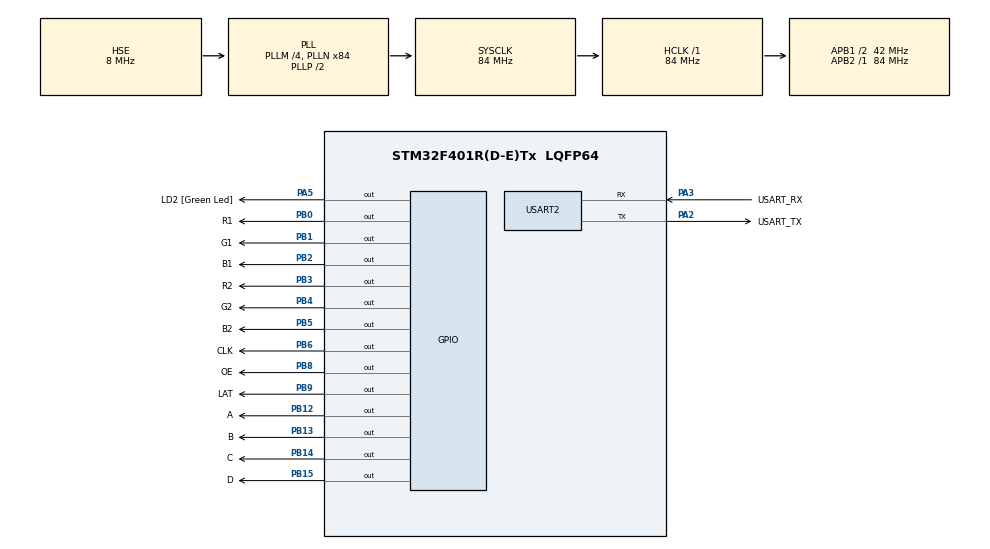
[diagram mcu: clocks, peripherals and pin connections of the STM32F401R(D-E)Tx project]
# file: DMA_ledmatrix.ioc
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Dma.Request0=TIM1_UP
Dma.TIM1_UP.0.Direction=DMA_MEMORY_TO_PERIPH
Dma.TIM1_UP.0.FIFOMode=DMA_FIFOMODE_ENABLE
Dma.TIM1_UP.0.FIFOThreshold=DMA_FIFO_THRESHOLD_FULL
Dma.TIM1_UP.0.Instance=DMA2_Stream5
Dma.TIM1_UP.0.MemBurst=DMA_MBURST_SINGLE
Dma.TIM1_UP.0.MemDataAlignment=DMA_MDATAALIGN_WORD
Dma.TIM1_UP.0.MemInc=DMA_MINC_ENABLE
Dma.TIM1_UP.0.Mode=DMA_CIRCULAR
Dma.TIM1_UP.0.PeriphBurst=DMA_PBURST_SINGLE
Dma.TIM1_UP.0.PeriphDataAlignment=DMA_PDATAALIGN_WORD
Dma.TIM1_UP.0.PeriphInc=DMA_PINC_DISABLE
Dma.TIM1_UP.0.Priority=DMA_PRIORITY_VERY_HIGH
Mcu.Family=STM32F4
Mcu.Name=STM32F401R(D-E)Tx
Mcu.Package=LQFP64
NVIC.DMA2_Stream5_IRQn=true\:0\:0\:false\:false\:true\:false\:true\:true
NVIC.PriorityGroup=NVIC_PRIORITYGROUP_4
NVIC.USART2_IRQn=true\:0\:0\:false\:false\:true\:true\:true\:true
PA13.GPIO_Label=TMS
PA13.Signal=SYS_JTMS-SWDIO
PA14.GPIO_Label=TCK
PA14.Signal=SYS_JTCK-SWCLK
PA2.GPIO_Label=USART_TX
PA2.GPIO_Mode=GPIO_MODE_AF_PP
PA2.GPIO_PuPd=GPIO_NOPULL
PA2.GPIO_Speed=GPIO_SPEED_FREQ_LOW
PA2.Mode=Asynchronous
PA2.Signal=USART2_TX
PA3.GPIO_Label=USART_RX
PA3.GPIO_Mode=GPIO_MODE_AF_PP
PA3.GPIO_PuPd=GPIO_NOPULL
PA3.GPIO_Speed=GPIO_SPEED_FREQ_LOW
PA3.Mode=Asynchronous
PA3.Signal=USART2_RX
PA5.GPIO_Label=LD2 [Green Led]
PA5.GPIO_Mode=GPIO_MODE_OUTPUT_PP
PA5.GPIO_PuPd=GPIO_NOPULL
PA5.GPIO_Speed=GPIO_SPEED_FREQ_LOW
PA5.Signal=GPIO_Output
PB0.GPIO_Label=R1
PB0.GPIO_Speed=GPIO_SPEED_FREQ_HIGH
PB0.Signal=GPIO_Output
PB1.GPIO_Label=G1
PB1.GPIO_Speed=GPIO_SPEED_FREQ_HIGH
PB1.Signal=GPIO_Output
PB12.GPIO_Label=A
PB12.GPIO_Speed=GPIO_SPEED_FREQ_HIGH
PB12.Signal=GPIO_Output
PB13.GPIO_Label=B
PB13.GPIO_Speed=GPIO_SPEED_FREQ_HIGH
PB13.Signal=GPIO_Output
PB14.GPIO_Label=C
PB14.GPIO_Speed=GPIO_SPEED_FREQ_HIGH
PB14.Signal=GPIO_Output
PB15.GPIO_Label=D
PB15.GPIO_Speed=GPIO_SPEED_FREQ_HIGH
PB15.Signal=GPIO_Output
PB2.GPIO_Label=B1
PB2.GPIO_Speed=GPIO_SPEED_FREQ_HIGH
PB2.Signal=GPIO_Output
PB3.GPIO_Label=R2
PB3.GPIO_Speed=GPIO_SPEED_FREQ_HIGH
PB3.Signal=GPIO_Output
PB4.GPIO_Label=G2
PB4.GPIO_Speed=GPIO_SPEED_FREQ_HIGH
PB4.Signal=GPIO_Output
PB5.GPIO_Label=B2
PB5.GPIO_Speed=GPIO_SPEED_FREQ_HIGH
PB5.Signal=GPIO_Output
PB6.GPIO_Label=CLK
PB6.GPIO_Speed=GPIO_SPEED_FREQ_HIGH
PB6.Signal=GPIO_Output
PB8.GPIO_Label=OE
PB8.GPIO_PuPd=GPIO_PULLUP
PB8.GPIO_Speed=GPIO_SPEED_FREQ_HIGH
PB8.PinState=GPIO_PIN_SET
PB8.Signal=GPIO_Output
PB9.GPIO_Label=LAT
PB9.GPIO_PuPd=GPIO_PULLUP
PB9.GPIO_Speed=GPIO_SPEED_FREQ_HIGH
PB9.Signal=GPIO_Output
PC14-OSC32_IN.Mode=LSE-External-Oscillator
PC14-OSC32_IN.Signal=RCC_OSC32_IN
PC15-OSC32_OUT.Mode=LSE-External-Oscillator
PC15-OSC32_OUT.Signal=RCC_OSC32_OUT
PH0\ -\ OSC_IN.Mode=HSE-External-Clock-Source
PH0\ -\ OSC_IN.Signal=RCC_OSC_IN
PH1\ -\ OSC_OUT.Mode=HSE-External-Clock-Source
PH1\ -\ OSC_OUT.Signal=RCC_OSC_OUT
ProjectManager.HeapSize=0x200
ProjectManager.StackSize=0x400
ProjectManager.TargetToolchain=STM32CubeIDE
RCC.48MHZClocksFreq_Value=24000000
RCC.AHBFreq_Value=84000000
RCC.APB1CLKDivider=RCC_HCLK_DIV2
RCC.APB1Freq_Value=42000000
RCC.APB1TimFreq_Value=84000000
RCC.APB2Freq_Value=84000000
RCC.APB2TimFreq_Value=84000000
RCC.CortexFreq_Value=84000000
RCC.HCLKFreq_Value=84000000
RCC.HSE_VALUE=8000000
RCC.HSI_VALUE=16000000
RCC.PLLM=4
RCC.PLLN=84
RCC.PLLQ=7
RCC.PLLSourceVirtual=RCC_PLLSOURCE_HSE
RCC.SYSCLKFreq_VALUE=84000000
RCC.SYSCLKSource=RCC_SYSCLKSOURCE_PLLCLK
RCC.VCOOutputFreq_Value=168000000
RTC.Format=RTC_FORMAT_BIN
RTC.HourFormat=RTC_HOURFORMAT_12
TIM1.Period=26
TIM1.Prescaler=0
TIM1.TIM_MasterOutputTrigger=TIM_TRGO_UPDATE
USART2.VirtualMode=VM_ASYNC
VP_RTC_VS_RTC_Activate.Mode=RTC_Enabled
VP_RTC_VS_RTC_Calendar.Mode=RTC_Calendar
VP_TIM1_VS_ClockSourceINT.Mode=Internal
board=NUCLEO-F401RE

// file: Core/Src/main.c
/* USER CODE BEGIN Header */
/**
  ******************************************************************************
  * @file           : main.c
  * @brief          : Main program body
  ******************************************************************************
  * @attention
  *
  * Copyright (c) 2025 STMicroelectronics.
  * All rights reserved.
  *
  * This software is licensed under terms that can be found in the LICENSE file
  * in the root directory of this software component.
  * If no LICENSE file comes with this software, it is provided AS-IS.
  *
  ******************************************************************************
  */
/* USER CODE END Header */
#include "main.h"

/* USER CODE BEGIN Includes */
#include "dma.h"
#include "color.h"
#include "test.h"
#include "debug_uart.h"
#include "paint.h"
#include "anim.h"
/* USER CODE END Includes */

RTC_HandleTypeDef hrtc;

TIM_HandleTypeDef htim1;
DMA_HandleTypeDef hdma_tim1_up;

UART_HandleTypeDef huart2;

/* USER CODE BEGIN PV */
// 전역 버퍼 크기: LED_WORDS_PER_FRAME 사용
uint32_t fb0[LED_WORDS_PER_FRAME];
uint32_t fb1[LED_WORDS_PER_FRAME];

/* USER CODE END PV */

void SystemClock_Config(void);
static void MX_GPIO_Init(void);
static void MX_DMA_Init(void);
static void MX_USART2_UART_Init(void);
static void MX_TIM1_Init(void);
static void MX_RTC_Init(void);

int main(void)
{

  /* MCU Configuration--------------------------------------------------------*/

  /* Reset of all peripherals, Initializes the Flash interface and the Systick. */
  HAL_Init();

  /* Configure the system clock */
  SystemClock_Config();

  /* Initialize all configured peripherals */
  MX_GPIO_Init();
  MX_DMA_Init();
  MX_USART2_UART_Init();
  MX_TIM1_Init();
  MX_RTC_Init();
  /* USER CODE BEGIN 2 */
  debug_uart_init(&huart2);
  debug_check_pins();

  float fupd = debug_tim1_update_hz(&htim1);
  float fps  = debug_tim1_fps(&htim1, LED_WORDS_PER_FRAME);
  debug_printf("[BOOT] WORDS/FRAME=%lu, TIM1 upd=%.3f MHz, FPS≈%.1f\r\n",
               (unsigned long)LED_WORDS_PER_FRAME, fupd/1e6f, fps);

  // 프레임 2장 모두 '컬러바'로 채움 → DMA가 이 내용을 계속 반복 표시
//  paint_color_bars(fb0);
//  paint_color_bars(fb1);

//  paint_checker(fb0, 8);   // 타일=8픽셀 (4,8,16 등 취향)
//  paint_checker(fb1, 8);

  // 1) 체크보드: 타일=8, 4프레임에 한 칸 이동
//   anim_init_checker(8, 4, fb0, fb1);

  // 2) 레인보우: 2프레임마다 hue 1 증가 (부드러운 스크롤)
  //anim_init_rainbow(1024 /* hue_step */, 2 /* frames_per_step */, fb0, fb1);
  //anim_init_rainbow(2048, 1, fb0, fb1);

  // RTC에서 시각 읽기
  uint8_t hh, mm, ss; bool is_am;
  rtc_get_hms_ampm(&hh, &mm, &ss, &is_am);

  // 필요 시 12시간제로 정규화 (RTC가 이미 12h면 생략 가능)
  uint8_t hh12 = (hh == 0) ? 12 : ((hh > 12) ? (hh - 12) : hh);
  // 색상 선택 (AM=하늘색, PM=주황색)
  uint8_t fr = is_am ? 135 : 255;
  uint8_t fg = is_am ? 206 : 165;
  uint8_t fb = is_am ? 235 :   0;

  paint_time_frame(fb0, hh12, mm, is_am, fr, fg, fb,   0, 0, 0);
  paint_time_frame(fb1, hh12, mm, is_am, fr, fg, fb,   0, 0, 0);

  led_dma_init(&hdma_tim1_up, GPIOB);
  if (led_dma_start(fb0, fb1, LED_WORDS_PER_FRAME) != HAL_OK) Error_Handler();

  __HAL_TIM_ENABLE_DMA(&htim1, TIM_DMA_UPDATE);
  HAL_TIM_Base_Start(&htim1);

  // 테스트 초기 프레임 생성 + 모드 설정

  /* USER CODE END 2 */

  /* Infinite loop */
  /* USER CODE BEGIN WHILE */
  while (1)
  {

	  static uint8_t last_mm = 255;
	  if (led_dma_take_vsync()) {
	      rtc_get_hms_ampm(&hh, &mm, &ss, &is_am);

	      if (mm != last_mm) {
	          last_mm = mm;
	          // 시/전경색 다시 계산
			  uint8_t hh12 = (hh == 0) ? 12 : ((hh > 12) ? (hh - 12) : hh);
			  uint8_t fr = is_am ? 135 : 255;
			  uint8_t fg = is_am ? 206 : 165;
			  uint8_t fb = is_am ? 235 :   0;

			  if (led_dma_is_mem_free(LED_MEM0)) {
			              paint_time_frame(fb0, hh12, mm, is_am, fr, fg, fb,  0,0,0);
			              led_dma_mark_filled(LED_MEM0);
			  }
			  if (led_dma_is_mem_free(LED_MEM1)) {
				  paint_time_frame(fb1, hh12, mm, is_am, fr, fg, fb,  0,0,0);
				  led_dma_mark_filled(LED_MEM1);
			  }
	      }
	  }

    /* USER CODE END WHILE */

  }
}

void SystemClock_Config(void)
{
  RCC_OscInitTypeDef RCC_OscInitStruct = {0};
  RCC_ClkInitTypeDef RCC_ClkInitStruct = {0};

  /** Configure the main internal regulator output voltage
  */
  __HAL_RCC_PWR_CLK_ENABLE();
  __HAL_PWR_VOLTAGESCALING_CONFIG(PWR_REGULATOR_VOLTAGE_SCALE2);

  /** Initializes the RCC Oscillators according to the specified parameters
  * in the RCC_OscInitTypeDef structure.
  */
  RCC_OscInitStruct.OscillatorType = RCC_OSCILLATORTYPE_LSI|RCC_OSCILLATORTYPE_HSE;
  RCC_OscInitStruct.HSEState = RCC_HSE_BYPASS;
  RCC_OscInitStruct.LSIState = RCC_LSI_ON;
  RCC_OscInitStruct.PLL.PLLState = RCC_PLL_ON;
  RCC_OscInitStruct.PLL.PLLSource = RCC_PLLSOURCE_HSE;
  RCC_OscInitStruct.PLL.PLLM = 4;
  RCC_OscInitStruct.PLL.PLLN = 84;
  RCC_OscInitStruct.PLL.PLLP = RCC_PLLP_DIV2;
  RCC_OscInitStruct.PLL.PLLQ = 7;
  if (HAL_RCC_OscConfig(&RCC_OscInitStruct) != HAL_OK)
  {
    Error_Handler();
  }

  /** Initializes the CPU, AHB and APB buses clocks
  */
  RCC_ClkInitStruct.ClockType = RCC_CLOCKTYPE_HCLK|RCC_CLOCKTYPE_SYSCLK
                              |RCC_CLOCKTYPE_PCLK1|RCC_CLOCKTYPE_PCLK2;
  RCC_ClkInitStruct.SYSCLKSource = RCC_SYSCLKSOURCE_PLLCLK;
  RCC_ClkInitStruct.AHBCLKDivider = RCC_SYSCLK_DIV1;
  RCC_ClkInitStruct.APB1CLKDivider = RCC_HCLK_DIV2;
  RCC_ClkInitStruct.APB2CLKDivider = RCC_HCLK_DIV1;

  if (HAL_RCC_ClockConfig(&RCC_ClkInitStruct, FLASH_LATENCY_2) != HAL_OK)
  {
    Error_Handler();
  }
}

static void MX_RTC_Init(void)
{

  RTC_TimeTypeDef sTime = {0};
  RTC_DateTypeDef sDate = {0};

  /** Initialize RTC Only
  */
  hrtc.Instance = RTC;
  hrtc.Init.HourFormat = RTC_HOURFORMAT_12;
  hrtc.Init.AsynchPrediv = 127;
  hrtc.Init.SynchPrediv = 255;
  hrtc.Init.OutPut = RTC_OUTPUT_DISABLE;
  hrtc.Init.OutPutPolarity = RTC_OUTPUT_POLARITY_HIGH;
  hrtc.Init.OutPutType = RTC_OUTPUT_TYPE_OPENDRAIN;
  if (HAL_RTC_Init(&hrtc) != HAL_OK)
  {
    Error_Handler();
  }

  /** Initialize RTC and set the Time and Date
  */
  sTime.Hours = 11;
  sTime.Minutes = 59;
  sTime.Seconds = 40;
  sTime.TimeFormat = RTC_HOURFORMAT12_AM;
  sTime.DayLightSaving = RTC_DAYLIGHTSAVING_NONE;
  sTime.StoreOperation = RTC_STOREOPERATION_RESET;
  if (HAL_RTC_SetTime(&hrtc, &sTime, RTC_FORMAT_BIN) != HAL_OK)
  {
    Error_Handler();
  }
  sDate.WeekDay = RTC_WEEKDAY_MONDAY;
  sDate.Month = RTC_MONTH_SEPTEMBER;
  sDate.Date = 29;
  sDate.Year = 25;

  if (HAL_RTC_SetDate(&hrtc, &sDate, RTC_FORMAT_BIN) != HAL_OK)
  {
    Error_Handler();
  }

}

static void MX_TIM1_Init(void)
{

  TIM_ClockConfigTypeDef sClockSourceConfig = {0};
  TIM_MasterConfigTypeDef sMasterConfig = {0};

  htim1.Instance = TIM1;
  htim1.Init.Prescaler = 0;
  htim1.Init.CounterMode = TIM_COUNTERMODE_UP;
  htim1.Init.Period = 26;
  htim1.Init.ClockDivision = TIM_CLOCKDIVISION_DIV1;
  htim1.Init.RepetitionCounter = 0;
  htim1.Init.AutoReloadPreload = TIM_AUTORELOAD_PRELOAD_DISABLE;
  if (HAL_TIM_Base_Init(&htim1) != HAL_OK)
  {
    Error_Handler();
  }
  sClockSourceConfig.ClockSource = TIM_CLOCKSOURCE_INTERNAL;
  if (HAL_TIM_ConfigClockSource(&htim1, &sClockSourceConfig) != HAL_OK)
  {
    Error_Handler();
  }
  sMasterConfig.MasterOutputTrigger = TIM_TRGO_UPDATE;
  sMasterConfig.MasterSlaveMode = TIM_MASTERSLAVEMODE_DISABLE;
  if (HAL_TIMEx_MasterConfigSynchronization(&htim1, &sMasterConfig) != HAL_OK)
  {
    Error_Handler();
  }
  /* USER CODE BEGIN TIM1_Init 2 */
  {
    // TIM1 실제 클럭(84e6 또는 168e6) 확인 후 필요한 fps로 ARR 계산
    const uint32_t tim1_clk_hz = 84000000u;   // APB2=84MHz일 때
    const uint32_t fps_target  = 150u;        // 원하는 프레임률
    const uint32_t words       = LED_WORDS_PER_FRAME; // 10480
    const uint32_t f_update    = fps_target * words;  // 필요 업데이트 주파수

    // PSC=0 고정, ARR = round(tim1_clk / f_update) - 1
    uint32_t arr_plus_1 = (tim1_clk_hz + f_update/2) / f_update;
    if (arr_plus_1 < 1) arr_plus_1 = 1;
    uint32_t arr = arr_plus_1 - 1;

    __HAL_TIM_DISABLE(&htim1);
    __HAL_TIM_SET_PRESCALER(&htim1, 0);
    __HAL_TIM_SET_AUTORELOAD(&htim1, arr);
    __HAL_TIM_SET_COUNTER(&htim1, 0);
    HAL_TIM_GenerateEvent(&htim1, TIM_EVENTSOURCE_UPDATE);
  }

  /* USER CODE END TIM1_Init 2 */

}

static void MX_USART2_UART_Init(void)
{

  huart2.Instance = USART2;
  huart2.Init.BaudRate = 115200;
  huart2.Init.WordLength = UART_WORDLENGTH_8B;
  huart2.Init.StopBits = UART_STOPBITS_1;
  huart2.Init.Parity = UART_PARITY_NONE;
  huart2.Init.Mode = UART_MODE_TX_RX;
  huart2.Init.HwFlowCtl = UART_HWCONTROL_NONE;
  huart2.Init.OverSampling = UART_OVERSAMPLING_16;
  if (HAL_UART_Init(&huart2) != HAL_OK)
  {
    Error_Handler();
  }

}

static void MX_DMA_Init(void)
{

  /* DMA controller clock enable */
  __HAL_RCC_DMA2_CLK_ENABLE();

  /* DMA interrupt init */
  /* DMA2_Stream5_IRQn interrupt configuration */
  HAL_NVIC_SetPriority(DMA2_Stream5_IRQn, 0, 0);
  HAL_NVIC_EnableIRQ(DMA2_Stream5_IRQn);

}

static void MX_GPIO_Init(void)
{
  GPIO_InitTypeDef GPIO_InitStruct = {0};

  /* GPIO Ports Clock Enable */
  __HAL_RCC_GPIOC_CLK_ENABLE();
  __HAL_RCC_GPIOH_CLK_ENABLE();
  __HAL_RCC_GPIOA_CLK_ENABLE();
  __HAL_RCC_GPIOB_CLK_ENABLE();

  /*Configure GPIO pin Output Level */
  HAL_GPIO_WritePin(LD2_GPIO_Port, LD2_Pin, GPIO_PIN_RESET);

  /*Configure GPIO pin Output Level */
  HAL_GPIO_WritePin(GPIOB, R1_Pin|G1_Pin|B1_Pin|A_Pin
                          |B_Pin|C_Pin|D_Pin|R2_Pin
                          |G2_Pin|B2_Pin|CLK_Pin|LAT_Pin, GPIO_PIN_RESET);

  /*Configure GPIO pin Output Level */
  HAL_GPIO_WritePin(OE_GPIO_Port, OE_Pin, GPIO_PIN_SET);

  /*Configure GPIO pin : LD2_Pin */
  GPIO_InitStruct.Pin = LD2_Pin;
  GPIO_InitStruct.Mode = GPIO_MODE_OUTPUT_PP;
  GPIO_InitStruct.Pull = GPIO_NOPULL;
  GPIO_InitStruct.Speed = GPIO_SPEED_FREQ_LOW;
  HAL_GPIO_Init(LD2_GPIO_Port, &GPIO_InitStruct);

  /*Configure GPIO pins : R1_Pin G1_Pin B1_Pin A_Pin
                           B_Pin C_Pin D_Pin R2_Pin
                           G2_Pin B2_Pin CLK_Pin */
  GPIO_InitStruct.Pin = R1_Pin|G1_Pin|B1_Pin|A_Pin
                          |B_Pin|C_Pin|D_Pin|R2_Pin
                          |G2_Pin|B2_Pin|CLK_Pin;
  GPIO_InitStruct.Mode = GPIO_MODE_OUTPUT_PP;
  GPIO_InitStruct.Pull = GPIO_NOPULL;
  GPIO_InitStruct.Speed = GPIO_SPEED_FREQ_HIGH;
  HAL_GPIO_Init(GPIOB, &GPIO_InitStruct);

  /*Configure GPIO pins : OE_Pin LAT_Pin */
  GPIO_InitStruct.Pin = OE_Pin|LAT_Pin;
  GPIO_InitStruct.Mode = GPIO_MODE_OUTPUT_PP;
  GPIO_InitStruct.Pull = GPIO_PULLUP;
  GPIO_InitStruct.Speed = GPIO_SPEED_FREQ_HIGH;
  HAL_GPIO_Init(GPIOB, &GPIO_InitStruct);

}

/* USER CODE BEGIN 4 */

void rtc_get_hms_ampm(uint8_t *hh12, uint8_t *mm, uint8_t *ss, bool *is_am)
{
  RTC_TimeTypeDef t; RTC_DateTypeDef d;

  HAL_RTC_GetTime(&hrtc, &t, RTC_FORMAT_BIN);
  HAL_RTC_GetDate(&hrtc, &d, RTC_FORMAT_BIN); // 반드시 함께 호출

  *mm = t.Minutes;
  *ss = t.Seconds;
  *is_am = (t.TimeFormat == RTC_HOURFORMAT12_AM);

  uint8_t h = t.Hours; if (h == 0) h = 12; // 12h 보호
  *hh12 = h;
}

/* USER CODE END 4 */

void Error_Handler(void)
{
  __disable_irq();
  while (1)
  {
  }
}
